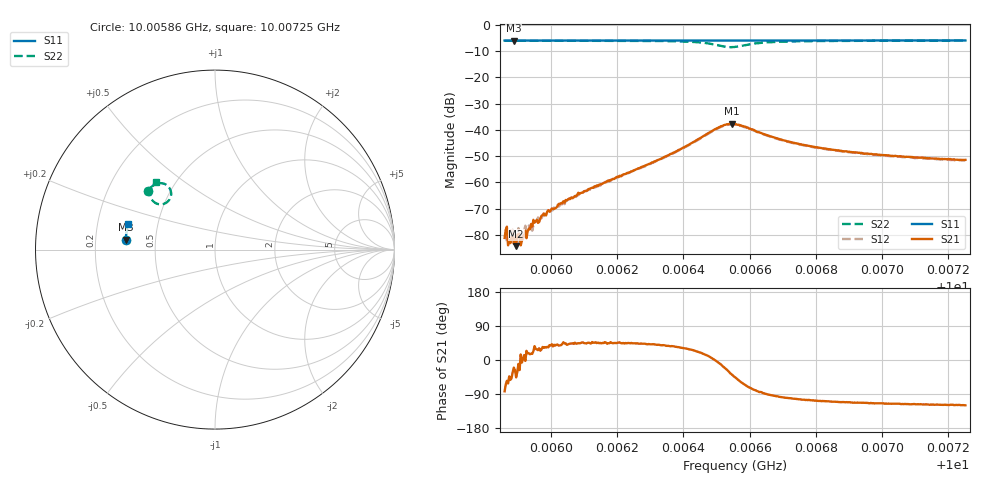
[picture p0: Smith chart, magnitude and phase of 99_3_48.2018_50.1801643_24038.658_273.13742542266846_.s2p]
#  HZ  S  RI  R  50.00
! Rohde & Schwarz Vector Network Analyzer
! Rohde-Schwarz,ZNB20-2Port,1311601062101988,3.16
! Created: UTC 3/20/2024, 11:40:31 AM
! freq[Hz]  re:S11  im:S11  re:S21  im:S21  re:S12  im:S12  re:S22  im:S22
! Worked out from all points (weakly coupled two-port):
!   401 points, 10.00586 GHz to 10.00725 GHz, reference 50 ohm
!   highest |S21| = -37.68 dB at 10.00655 GHz (marker M1); lowest = -84.3 dB at 10.00589 GHz (marker M2)
!   lowest |S11| = -6.0 dB at 10.00589 GHz (marker M3), VSWR 3.01, Z = 16.7 + j2.46 ohm
!   |S11| at or under -10 dB: nowhere
!   |S22| runs from -8.5 to -6.0 dB; largest |S21 - S12| = 0.00087
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1.000586e10  -0.4985 0.0535  1.14e-05 -8.69e-05  6.63e-05 -6.95e-05  -0.3737 0.3292
1.000587e10  -0.4984 0.0541  2.96e-05 -5.61e-05  5.11e-05 -8.93e-05  -0.373 0.3298
1.0005877e10  -0.4985 0.0547  4.25e-05 -5.55e-05  8.55e-05 -8.79e-05  -0.3727 0.3304
1.0005887e10  -0.4982 0.0552  6.36e-05 -2.31e-05  4.55e-05 -6.45e-05  -0.3722 0.331
1.0005894e10  -0.4983 0.0558  4.27e-05 -4.38e-05  9.57e-05 -2.8e-05  -0.3718 0.3314
1.0005912e10  -0.4981 0.0568  7.66e-05 -9.05e-06  8.62e-05 -3.17e-05  -0.3707 0.3326
1.0005922e10  -0.498 0.0576  0.000121 -4.87e-06  0.000148 2.34e-05  -0.3702 0.3333
1.0005926e10  -0.4981 0.0577  7.92e-05 3.55e-05  0.000125 2.17e-05  -0.37 0.3334
1.0005947e10  -0.498 0.0592  0.000178 7.79e-05  0.000144 5.19e-05  -0.3689 0.3348
1.0005967e10  -0.4979 0.0605  0.000187 8.55e-05  0.000175 0.000125  -0.3676 0.3363
1.0005995e10  -0.4977 0.0623  0.000213 0.000175  0.000236 0.00017  -0.3658 0.3381
1.0006093e10  -0.497 0.0688  0.000441 0.000461  0.000427 0.000462  -0.3589 0.345
1.0006326e10  -0.495 0.0838  0.00207 0.00176  0.00197 0.00183  -0.3305 0.3649
1.0006465e10  -0.4931 0.0927  0.00769 0.00199  0.00741 0.00228  -0.2712 0.3608
1.0006514e10  -0.4922 0.0957  0.0115 -0.00249  0.0113 -0.00196  -0.2441 0.3114
1.0006545e10  -0.4918 0.0971  0.0103 -0.00798  0.0105 -0.00715  -0.2654 0.2655
1.0006556e10  -0.4919 0.0974  0.00899 -0.00914  0.00921 -0.00848  -0.2805 0.2565
1.0006632e10  -0.4919 0.1021  0.000883 -0.00877  0.00117 -0.0086  -0.3541 0.282
1.0006705e10  -0.4912 0.1071  -0.001 -0.00619  -0.000682 -0.00613  -0.3619 0.314
1.0006789e10  -0.4902 0.1126  -0.00138 -0.00463  -0.00116 -0.00459  -0.3581 0.3339
1.0007022e10  -0.4872 0.1275  -0.00139 -0.00294  -0.00123 -0.00292  -0.3434 0.3602
1.0007252e10  -0.4836 0.1419  -0.00133 -0.00234  -0.00118 -0.00235  -0.3303 0.3758
